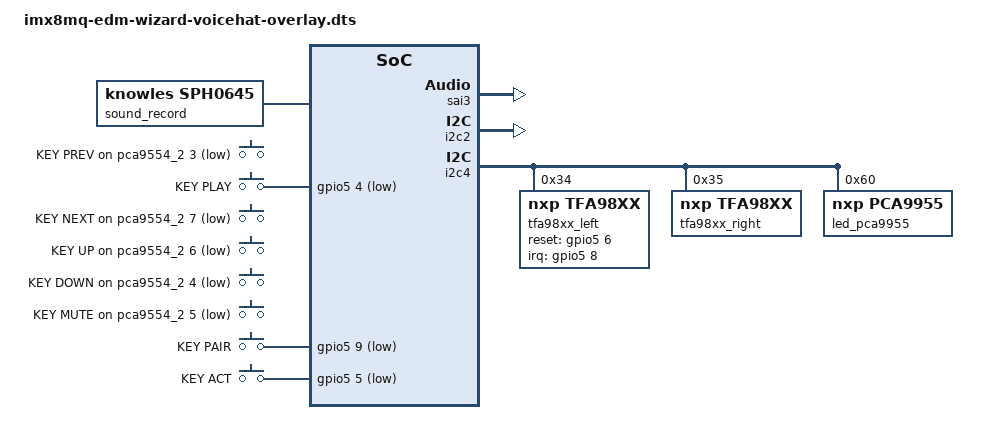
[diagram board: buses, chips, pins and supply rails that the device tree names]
/dts-v1/;
/plugin/;

#include "../imx8mq-pinfunc.h"
#include <dt-bindings/clock/imx8mq-clock.h>
#include <dt-bindings/interrupt-controller/irq.h>
#include <dt-bindings/input/input.h>
#include <dt-bindings/gpio/gpio.h>

/ {

	fragment@0 {
		target-path = "/";
		__overlay__ {
			sound-tfa9912 {
				compatible = "nxp,imx-audio-tfa98xx", "nxp,imx-tfa98xx";
				nxp,model = "TFA9912";
				cpu-dai = <&sai2>;
				ssi-controller = <&sai2>;
				nxp,audio-codec = <&tfa98xx_left &tfa98xx_right>;
				clocks = <&clk IMX8MQ_CLK_SAI2>;
				nxp,audio-routing =
					"Speaker", "OUTL",
					"DMIC1", "Mic",
					"DMIC2", "Mic",
					"DMIC3", "Mic",
					"DMIC4", "Mic";
			};

			sound-sph0645 {
				compatible = "nxp,imx-audio-sph0645", "nxp,imx-sph0645";
				nxp,model = "SPH0645";
				cpu-dai = <&sai3>;
				ssi-controller = <&sai3>;
				nxp,audio-codec = <&sound_record>;
				clocks = <&clk IMX8MQ_CLK_SAI3>;
			};

			sound_record: codec {
				compatible = "knowles,sph0645";
			};

			gpio_keys {
				compatible = "gpio-keys";
				pinctrl-names = "default";
				pinctrl-0 = <&pinctrl_gpio_key_voicehat>;

				prev {
					gpios = <&pca9554_2 3 GPIO_ACTIVE_LOW>;
					label = "KEY PREV";
					linux,code = <KEY_PREVIOUS>;
				};

				play {
					gpios = <&gpio5 4 GPIO_ACTIVE_LOW>;
					label = "KEY PLAY";
					linux,code = <KEY_PLAY>;
				};

				next {
					gpios = <&pca9554_2 7 GPIO_ACTIVE_LOW>;
					label = "KEY NEXT";
					linux,code = <KEY_NEXT>;
				};

				up {
					gpios = <&pca9554_2 6 GPIO_ACTIVE_LOW>;
					label = "KEY UP";
					linux,code = <KEY_UP>;
				};

				down {
					gpios = <&pca9554_2 4 GPIO_ACTIVE_LOW>;
					label = "KEY DOWN";
					linux,code = <KEY_DOWN>;
				};

				mute {
					gpios = <&pca9554_2 5 GPIO_ACTIVE_LOW>;
					label = "KEY MUTE";
					linux,code = <KEY_MUTE>;
				};

				pair {
					gpios = <&gpio5 9 GPIO_ACTIVE_LOW>;
					label = "KEY PAIR";
					linux,code = <KEY_SELECT>;
				};

				act {
					gpios = <&gpio5 5 GPIO_ACTIVE_LOW>;
					label = "KEY ACT";
					linux,code = <KEY_OK>;
				};
			};

			sound-wm8960 {
				status = "disabled";
			};
		};
	};

	fragment@1 {
		target = <&ecspi1>;
		__overlay__ {
			status = "disabled";
		};
	};

	fragment@2 {
		target = <&iomuxc>;
		__overlay__ {
			pinctrl-names = "default";

			pinctrl_tfa98xx: tfa98xx_ctrlgrp {
				fsl,pins = <
					MX8MQ_IOMUXC_ECSPI1_SCLK_GPIO5_IO6	0x19 /* RST */
					MX8MQ_IOMUXC_ECSPI1_MISO_GPIO5_IO8	0x19 /* INT */
				>;
			};

			pinctrl_sai3: sai3grp {
				fsl,pins = <
					MX8MQ_IOMUXC_SAI3_TXFS_SAI3_TX_SYNC	0xd6
					MX8MQ_IOMUXC_SAI3_TXC_SAI3_TX_BCLK	0xd6
					MX8MQ_IOMUXC_SAI3_RXD_SAI3_RX_DATA0	0xd6
				>;
			};

			pinctrl_gpio_key_voicehat: key_ctrlgrp {
				fsl,pins = <
					MX8MQ_IOMUXC_SPDIF_RX_GPIO5_IO4			0x41 /* KEY_PLAY */
					MX8MQ_IOMUXC_ECSPI1_SS0_GPIO5_IO9		0x41 /* KEY_PAIR */
					MX8MQ_IOMUXC_SPDIF_EXT_CLK_GPIO5_IO5		0x41 /* KEY_ACT */
				>;
			};
		};
	};

	fragment@3 {
		target = <&sai3>;
		__overlay__ {
			#sound-dai-cells = <0>;
			pinctrl-names = "default";
			pinctrl-0 = <&pinctrl_sai3>;
			assigned-clocks = <&clk IMX8MQ_CLK_SAI3>;
			assigned-clock-parents = <&clk IMX8MQ_AUDIO_PLL1_OUT>;
			assigned-clock-rates = <24576000>;
			status = "okay";
		};
	};


	fragment@4 {
		target = <&sai3>;
		__overlay__ {
			#sound-dai-cells = <0>;
			pinctrl-names = "default";
			pinctrl-0 = <&pinctrl_sai3>;
			assigned-clocks = <&clk IMX8MQ_CLK_SAI3>;
			assigned-clock-parents = <&clk IMX8MQ_AUDIO_PLL1_OUT>;
			assigned-clock-rates = <24576000>;
			status = "okay";
		};
	};

	fragment@5 {
		target = <&i2c2>;
		__overlay__ {
			#address-cells = <1>;
			#size-cells = <0>;
			status = "okay";
			wm8960: codec@1a {
				status = "disabled";
			};
		};
	};

	fragment@6 {
		target = <&i2c4>;
		__overlay__ {
			#address-cells = <1>;
			#size-cells = <0>;
			status = "okay";

			tfa98xx_left: tfa98xx_left@34 {
				compatible = "nxp,tfa98xx";
				pinctrl-names = "default";
				pinctrl-0 = <&pinctrl_tfa98xx>;
				reg = <0x34>;
				reset-gpio = <&gpio5 6 GPIO_ACTIVE_HIGH>;
				irq-gpio = <&gpio5 8 GPIO_ACTIVE_HIGH>;
			};

			tfa98xx_right: tfa98xx_right@35 {
				compatible = "nxp,tfa98xx";
				reg = <0x35>;
			};

			/* PCA9955 - 16-bit RGB LED */
			led_pca9955: pca9955@60 {
				#address-cells = <1>;
				#size-cells = <0>;
				compatible = "nxp,pca9955";
				reg = <0x60>;

				led0 {
					label = "blue0";
					linux,default-trigger = "none";
					reg = <0>;
				};

				led1 {
					label = "green0";
					linux,default-trigger = "none";
					reg = <1>;
				};

				led2 {
					label = "red0";
					linux,default-trigger = "none";
					reg = <2>;
				};

				led3 {
					label = "blue1";
					linux,default-trigger = "none";
					reg = <3>;
				};

				led4 {
					label = "green1";
					linux,default-trigger = "none";
					reg = <4>;
				};

				led5 {
					label = "red1";
					linux,default-trigger = "none";
					reg = <5>;
				};

				led6 {
					label = "blue2";
					linux,default-trigger = "none";
					reg = <6>;
				};

				led7 {
					label = "green2";
					linux,default-trigger = "none";
					reg = <7>;
				};

				led8 {
					label = "red2";
					linux,default-trigger = "none";
					reg = <8>;
				};

				led9 {
					label = "blue3";
					linux,default-trigger = "none";
					reg = <9>;
				};

				led10 {
					label = "green3";
					linux,default-trigger = "none";
					reg = <10>;
				};

				led11 {
					label = "red3";
					linux,default-trigger = "none";
					reg = <11>;
				};

				led12 {
					label = "blue4";
					linux,default-trigger = "none";
					reg = <12>;
				};

				led13 {
					label = "green4";
					linux,default-trigger = "none";
					reg = <13>;
				};

				led14 {
					label = "red4";
					linux,default-trigger = "none";
					reg = <14>;
				};

				led15 {
					label = "blue5";
					linux,default-trigger = "none";
					reg = <15>;
				};
			};
		};
	};
};
